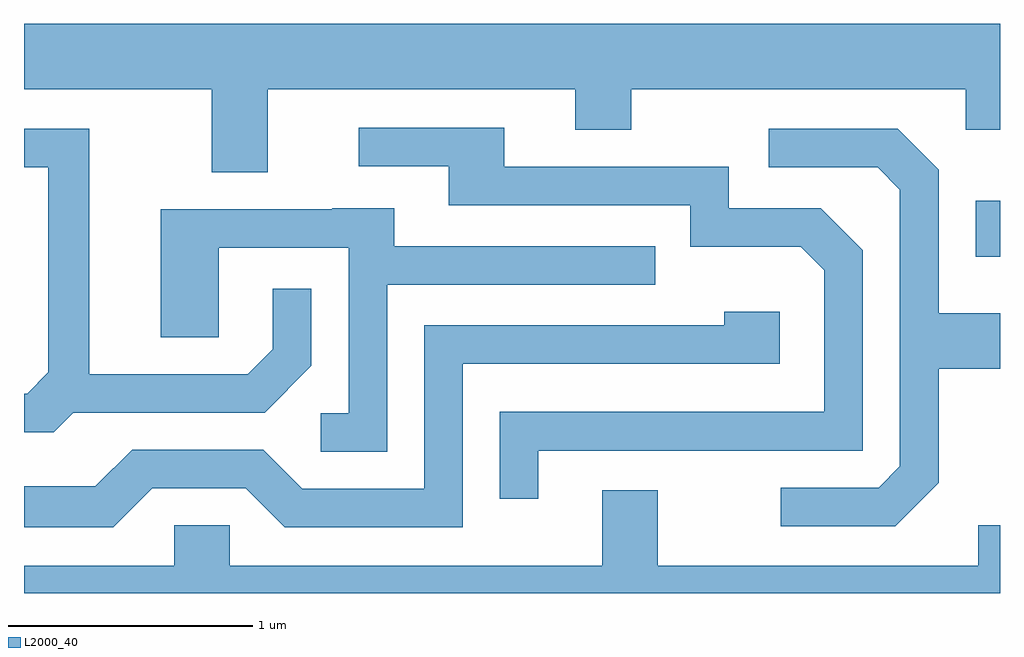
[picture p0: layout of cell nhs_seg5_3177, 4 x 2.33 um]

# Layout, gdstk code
import gdstk
lib = gdstk.Library(unit=1e-6, precision=1e-09)
def R(c, l, rs):  # rectangles x0, y0, x1, y1
    for r in rs: c.add(gdstk.rectangle(r[:2], r[2:], *l))
def P(c, l, *ps):  # polygons
    for p in ps: c.add(gdstk.Polygon(p, *l))
L2000_40 = (2000, 40)

nhs_seg5_3177 = lib.new_cell('nhs_seg5_3177')
R(nhs_seg5_3177, L2000_40, [(283.511,1449.451,283.611,1449.679)])
P(nhs_seg5_3177, L2000_40, [(280.609,1450.136),(281.871,1450.136),(281.871,1449.971),(282.099,1449.971),(282.099,1450.136),(283.471,1450.136),(283.471,1449.971),(283.611,1449.971),(283.611,1450.404),(279.611,1450.404),(279.611,1450.136),(280.381,1450.136),(280.381,1449.796),(280.609,1449.796)],
  [(281.719,1448.656),(283.049,1448.656),(283.049,1449.477),(282.877,1449.649),(282.499,1449.649),(282.499,1449.819),(281.579,1449.819),(281.579,1449.979),(280.983,1449.979),(280.983,1449.821),(281.351,1449.821),(281.351,1449.661),(282.341,1449.661),(282.341,1449.491),(282.794,1449.491),(282.891,1449.394),(282.891,1448.814),(281.561,1448.814),(281.561,1448.458),(281.719,1448.458)],
  [(283.359,1448.524),(283.359,1448.991),(283.611,1448.991),(283.611,1449.219),(283.359,1449.219),(283.359,1449.807),(283.192,1449.974),(282.663,1449.974),(282.663,1449.816),(283.109,1449.816),(283.201,1449.724),(283.201,1448.592),(283.114,1448.504),(282.713,1448.504),(282.713,1448.346),(283.182,1448.346)],
  [(279.812,1448.811),(280.597,1448.811),(280.789,1449.004),(280.789,1449.318),(280.631,1449.318),(280.631,1449.072),(280.529,1448.969),(279.879,1448.969),(279.879,1449.974),(279.611,1449.974),(279.611,1449.816),(279.711,1449.816),(279.711,1448.977),(279.624,1448.889),(279.611,1448.889),(279.611,1448.731),(279.732,1448.731)],
  [(281.099,1449.336),(282.198,1449.336),(282.198,1449.494),(281.129,1449.494),(281.129,1449.649),(280.875,1449.649),(280.875,1449.644),(280.171,1449.644),(280.171,1449.121),(280.409,1449.121),(280.409,1449.486),(280.941,1449.486),(280.941,1448.809),(280.828,1448.809),(280.828,1448.651),(281.099,1448.651)],
  [(280.137,1448.501),(280.519,1448.501),(280.679,1448.341),(281.409,1448.341),(281.409,1449.011),(282.709,1449.011),(282.709,1449.224),(282.481,1449.224),(282.481,1449.169),(281.251,1449.169),(281.251,1448.499),(280.752,1448.499),(280.592,1448.659),(280.054,1448.659),(279.904,1448.509),(279.611,1448.509),(279.611,1448.341),(279.977,1448.341)],
  [(283.611,1448.349),(283.521,1448.349),(283.521,1448.184),(282.209,1448.184),(282.209,1448.494),(281.981,1448.494),(281.981,1448.184),(280.454,1448.184),(280.454,1448.349),(280.226,1448.349),(280.226,1448.184),(279.611,1448.184),(279.611,1448.072),(283.611,1448.072)])

lib.write_gds('nhs_seg5_3177.gds')
